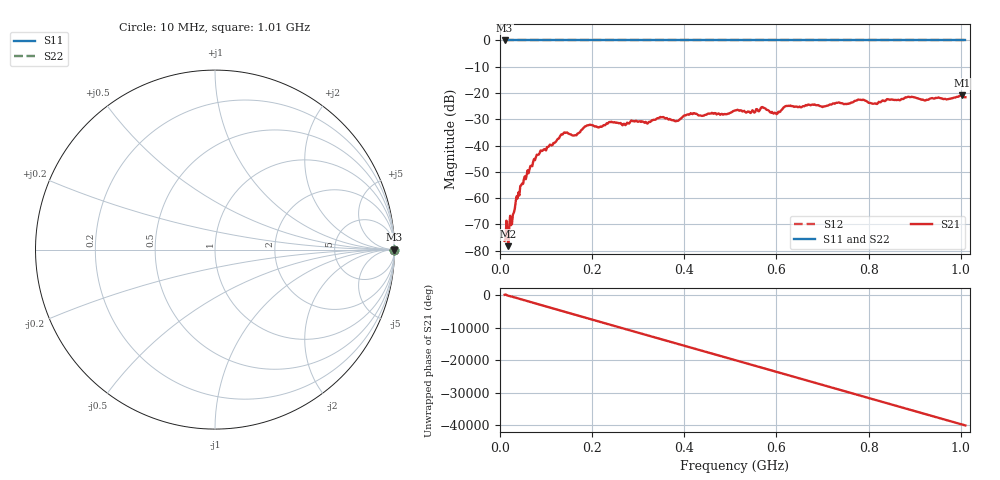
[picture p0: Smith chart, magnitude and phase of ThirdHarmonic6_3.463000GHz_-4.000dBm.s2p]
! 8/17/2025 11:12:59 AM
! C:\ANRITSUVNA\TEMP\TEMP.S2P
! CHANNEL.1
! TR.MEASUREMENT
! RAW.DATA
! RF.CORRECTION.OFF
! AVERAGING.OFF
! IF.BANDWIDTH: 5KHZ
! SWEEPTYPE:  FREQ.SWEEP(Linear)
! Reference Plane Port Info
! PORT:  PORT1  PORT2
! DISTANCE:  0  m  0  m
! TIME:  0  s  0  s
! PHASE.OFFSET:  0  deg.  0  deg.
! LOSS:  0  dB  0  dB
! REF.LOSS:  0  dB  0  dB
! REF.FREQ:  0  Hz  0  Hz
! Power Info
! POWER:  -20  dBm  -20  dBm
! EFF.POWER:  -20  dBm  -20  dBm
! SOURCE.ATTEN:  0  dB  0  dB
! TEST.ATTEN:  0  dB  0  dB
# GHZ S RI R 50.0
! FREQ.GHZ  S11RE  S11IM  S21RE  S21IM  S12RE  S12IM  S22RE  S22IM
!; PortSelection: Port_12
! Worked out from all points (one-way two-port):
!   501 points, 10 MHz to 1.01 GHz, reference 50 ohm
!   highest |S21| = -20.94 dB at 1.002 GHz (marker M1); lowest = -78.3 dB at 18 MHz (marker M2)
!   lowest |S11| = 0.0 dB at 10 MHz (marker M3)
!   |S11| at or under -10 dB: nowhere
!   |S22| runs from 0.0 to 0.0 dB; largest |S21 - S12| = 1.1
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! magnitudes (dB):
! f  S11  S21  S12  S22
! 10 MHz  0.0  -76.3  0.0  0.0
! 14 MHz  0.0  -68.6  0.0  0.0
! 18 MHz  0.0  -78.3  0.0  0.0
! 22 MHz  0.0  -66.7  0.0  0.0
! 36 MHz  0.0  -59.3  0.0  0.0
! 48 MHz  0.0  -54.4  0.0  0.0
! 78 MHz  0.0  -44.4  0.0  0.0
! 136 MHz  0.0  -35.8  0.0  0.0
! 162 MHz  0.0  -36.1  0.0  0.0
! 178 MHz  0.0  -33.9  0.0  0.0
! 192 MHz  0.0  -32.2  0.0  0.0
! 344 MHz  0.0  -29.6  0.0  0.0
! 384 MHz  0.0  -30.6  0.0  0.0
! 418 MHz  0.0  -28.0  0.0  0.0
! 510 MHz  0.0  -26.7  0.0  0.0
! 570 MHz  0.0  -25.3  0.0  0.0
! 598 MHz  0.0  -27.6  0.0  0.0
! 622 MHz  0.0  -24.9  0.0  0.0
! 678 MHz  0.0  -24.4  0.0  0.0
! 844 MHz  0.0  -22.5  0.0  0.0
! 1.002 GHz  0.0  -20.9  0.0  0.0
! 1.01 GHz  0.0  -21.6  0.0  0.0
